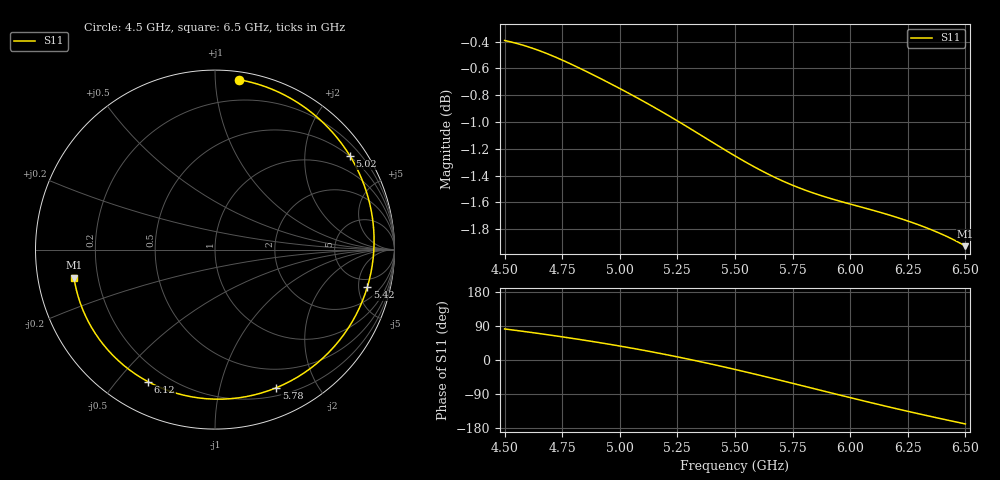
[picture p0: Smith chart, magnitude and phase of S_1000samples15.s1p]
! TOUCHSTONE file generated by CST MICROWAVE STUDIO
! Date and time: Wed Oct 26 17:00:01 2022
! Project name: L.cst
! Parameters = {Di=1.27; Epsilon_r=1.56; InnerDiameter=1.27; Length=2; Lf=10; Lg=60; OuterConductorThickness=0.2921; OuterDiameter=3.6; Wf=3; Wp=41.2; de=1.5; df=6.8; g=0.8; gx=3.77727; gy=1.39077; h=2.34; hf=1.524; px=8.89151; py=9.99206; w=9.7; wx=5.11424; wy=8.60128}
! Header version: 2018
! Port assignment regex: !\s*Touchstone port\s*([0-9]+)\s*=\s*(CST MWS port|CST DS port)\s*([0-9]+|Zmin|Zmax)\s*\(\"(.*)\"\)(\s*mode\s*([0-9]+))?.*
! Touchstone port assignment:
! Touchstone port 1 = CST MWS port 1 ("")
# GHz S DB R 50
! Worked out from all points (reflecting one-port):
!   101 points, 4.5 GHz to 6.5 GHz, reference 50 ohm
!   lowest |S11| = -1.9 dB at 6.5 GHz (marker M1), VSWR 9.05, Z = 5.58 - j4.87 ohm
!   phase of S11 starts at 82 deg and turns -251 deg over the sweep
!   S11 on the Smith chart (normalised r, x): 4.5 GHz: 0.05, +1.15; 5.02 GHz: 0.49, +3.13; 5.42 GHz: 3.54, -6.27; 5.78 GHz: 0.28, -1.50; 6.12 GHz: 0.13, -0.61; 6.5 GHz: 0.11, -0.10
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4.5  -0.39 82.0
4.64  -0.46 70.7
4.76  -0.55 60.2
4.88  -0.64 48.9
5  -0.75 36.8
5.02  -0.77 34.7
5.14  -0.88 21.4
5.26  -1.00 7.0
5.34  -1.09 -3.2
5.42  -1.17 -13.8
5.5  -1.25 -24.9
5.56  -1.31 -33.5
5.62  -1.37 -42.2
5.7  -1.44 -54.0
5.76  -1.48 -63.1
5.78  -1.49 -66.1
5.84  -1.53 -75.1
5.9  -1.56 -84.2
5.94  -1.58 -90.3
6  -1.61 -99.3
6.06  -1.64 -108.2
6.12  -1.67 -116.9
6.2  -1.71 -128.4
6.26  -1.75 -136.8
6.32  -1.78 -145.0
6.38  -1.83 -153.1
6.44  -1.87 -161.0
6.5  -1.93 -168.7
